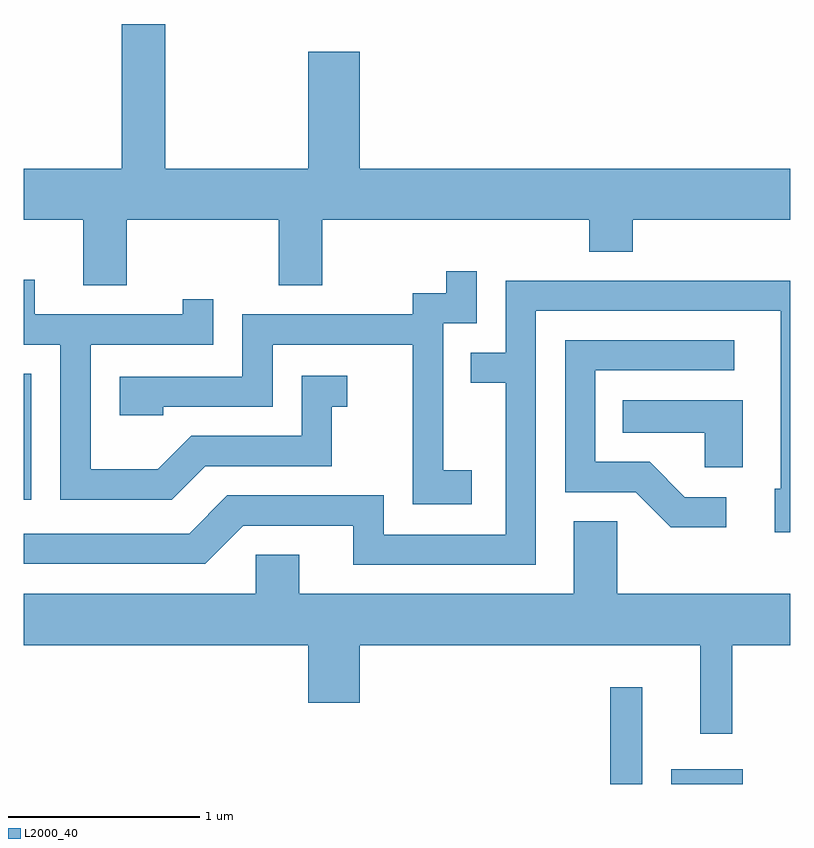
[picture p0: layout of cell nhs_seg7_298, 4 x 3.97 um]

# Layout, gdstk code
import gdstk
lib = gdstk.Library(unit=1e-6, precision=1e-09)
def R(c, l, rs):  # rectangles x0, y0, x1, y1
    for r in rs: c.add(gdstk.rectangle(r[:2], r[2:], *l))
def P(c, l, *ps):  # polygons
    for p in ps: c.add(gdstk.Polygon(p, *l))
L2000_40 = (2000, 40)

nhs_seg7_298 = lib.new_cell('nhs_seg7_298')
R(nhs_seg7_298, L2000_40, [(196.671,1720.252,196.839,1720.758), (196.991,1720.252,197.364,1720.329), (193.611,1721.736,193.649,1722.394)])
P(nhs_seg7_298, L2000_40, [(194.149,1723.196),(194.941,1723.196),(194.941,1722.856),(195.169,1722.856),(195.169,1723.196),(196.561,1723.196),(196.561,1723.031),(196.789,1723.031),(196.789,1723.196),(197.611,1723.196),(197.611,1723.464),(195.364,1723.464),(195.364,1724.074),(195.096,1724.074),(195.096,1723.464),(194.349,1723.464),(194.349,1724.219),(194.121,1724.219),(194.121,1723.464),(193.611,1723.464),(193.611,1723.196),(193.921,1723.196),(193.921,1722.856),(194.149,1722.856)],
  [(195.949,1721.889),(195.799,1721.889),(195.799,1722.656),(195.974,1722.656),(195.974,1722.928),(195.816,1722.928),(195.816,1722.814),(195.641,1722.814),(195.641,1722.704),(194.751,1722.704),(194.751,1722.379),(194.111,1722.379),(194.111,1722.176),(194.339,1722.176),(194.339,1722.221),(194.909,1722.221),(194.909,1722.546),(195.641,1722.546),(195.641,1721.711),(195.949,1721.711)],
  [(194.557,1721.911),(195.219,1721.911),(195.219,1722.221),(195.298,1722.221),(195.298,1722.384),(195.061,1722.384),(195.061,1722.069),(194.484,1722.069),(194.309,1721.894),(193.959,1721.894),(193.959,1722.546),(194.599,1722.546),(194.599,1722.783),(194.441,1722.783),(194.441,1722.704),(193.669,1722.704),(193.669,1722.883),(193.611,1722.883),(193.611,1722.546),(193.801,1722.546),(193.801,1721.736),(194.382,1721.736)],
  [(196.284,1722.721),(197.561,1722.721),(197.561,1721.794),(197.531,1721.794),(197.531,1721.566),(197.611,1721.566),(197.611,1722.879),(196.126,1722.879),(196.126,1722.504),(195.943,1722.504),(195.943,1722.346),(196.126,1722.346),(196.126,1721.554),(195.489,1721.554),(195.489,1721.759),(194.674,1721.759),(194.474,1721.559),(193.611,1721.559),(193.611,1721.401),(194.557,1721.401),(194.757,1721.601),(195.331,1721.601),(195.331,1721.396),(196.284,1721.396)],
  [(197.278,1721.749),(197.062,1721.749),(196.877,1721.934),(196.594,1721.934),(196.594,1722.411),(197.318,1722.411),(197.318,1722.569),(196.436,1722.569),(196.436,1721.776),(196.804,1721.776),(196.989,1721.591),(197.278,1721.591)],
  [(197.364,1722.254),(196.738,1722.254),(196.738,1722.086),(197.166,1722.086),(197.166,1721.906),(197.364,1721.906)],
  [(197.309,1720.976),(197.611,1720.976),(197.611,1721.244),(196.709,1721.244),(196.709,1721.624),(196.481,1721.624),(196.481,1721.244),(195.049,1721.244),(195.049,1721.449),(194.821,1721.449),(194.821,1721.244),(193.611,1721.244),(193.611,1720.976),(195.096,1720.976),(195.096,1720.676),(195.364,1720.676),(195.364,1720.976),(197.141,1720.976),(197.141,1720.513),(197.309,1720.513)])

lib.write_gds('nhs_seg7_298.gds')
